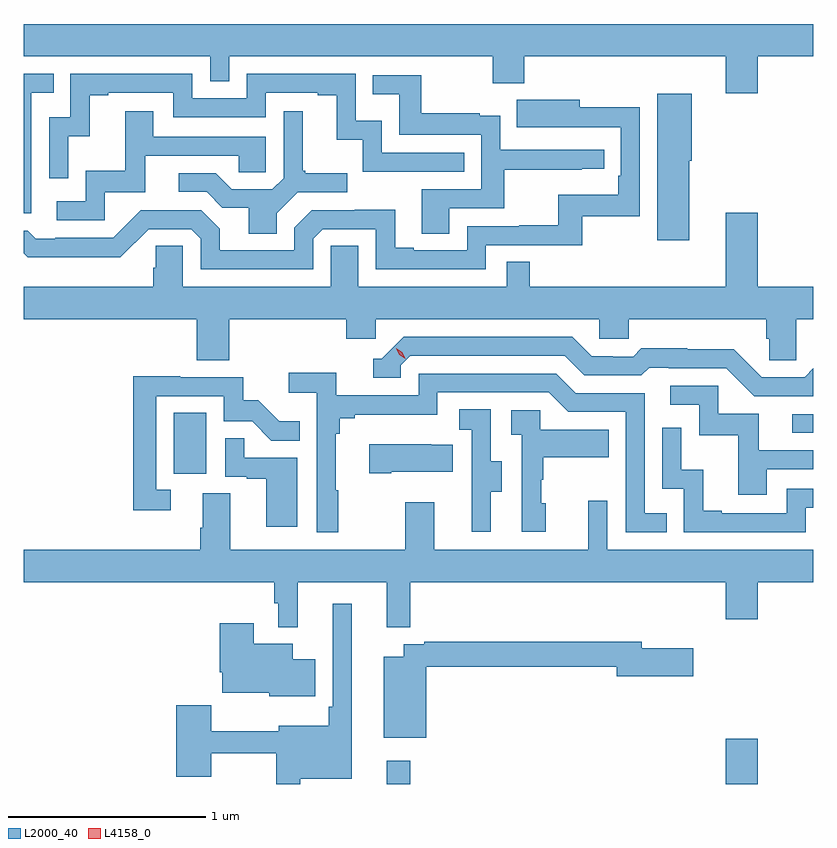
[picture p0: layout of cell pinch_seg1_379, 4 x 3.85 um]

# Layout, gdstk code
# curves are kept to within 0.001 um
import gdstk
lib = gdstk.Library(unit=1e-6, precision=1e-09)
def R(c, l, rs):  # rectangles x0, y0, x1, y1
    for r in rs: c.add(gdstk.rectangle(r[:2], r[2:], *l))
def P(c, l, *ps):  # polygons
    for p in ps: c.add(gdstk.Polygon(p, *l))
L2000_40 = (2000, 40)
L4158_0 = (4158, 0)

pinch_seg1_379 = lib.new_cell('pinch_seg1_379')
R(pinch_seg1_379, L2000_40, [(954.5,525.401,954.617,525.52), (956.216,525.401,956.38,525.631), (953.42,526.974,953.584,527.281), (956.553,527.181,956.66,527.274)])
P(pinch_seg1_379, L2000_40, [(956.38,529.088),(956.66,529.088),(956.66,529.252),(952.66,529.252),(952.66,529.088),(953.604,529.088),(953.604,528.961),(953.7,528.961),(953.7,529.088),(955.036,529.088),(955.036,528.953),(955.196,528.953),(955.196,529.088),(956.216,529.088),(956.216,528.9),(956.38,528.9)],
  [(952.884,528.683),(952.994,528.683),(952.994,528.891),(953.089,528.891),(953.089,528.903),(953.418,528.903),(953.418,528.78),(953.886,528.78),(953.886,528.903),(954.149,528.903),(954.149,528.891),(954.245,528.891),(954.245,528.665),(954.378,528.665),(954.378,528.504),(954.893,528.504),(954.893,528.6),(954.474,528.6),(954.474,528.763),(954.342,528.763),(954.342,528.999),(953.79,528.999),(953.79,528.876),(953.514,528.876),(953.514,528.999),(952.896,528.999),(952.896,528.78),(952.788,528.78),(952.788,528.471),(952.884,528.471)],
  [(952.698,528.903),(952.811,528.903),(952.811,528.999),(952.66,528.999),(952.66,528.294),(952.698,528.294)],
  [(954.817,528.318),(955.094,528.318),(955.094,528.514),(955.487,528.514),(955.487,528.519),(955.6,528.519),(955.6,528.615),(955.074,528.615),(955.074,528.787),(954.971,528.787),(954.971,528.799),(954.673,528.799),(954.673,528.993),(954.427,528.993),(954.427,528.896),(954.562,528.896),(954.562,528.69),(954.978,528.69),(954.978,528.414),(954.677,528.414),(954.677,528.19),(954.817,528.19)],
  [(956.032,528.558),(956.044,528.558),(956.044,528.898),(955.871,528.898),(955.871,528.156),(956.032,528.156)],
  [(954.126,528.165),(954.174,528.213),(954.444,528.213),(954.444,528.009),(955.002,528.009),(955.002,528.132),(955.489,528.132),(955.489,528.279),(955.782,528.279),(955.782,528.83),(955.477,528.83),(955.477,528.868),(955.159,528.868),(955.159,528.728),(955.686,528.729),(955.686,528.484),(955.673,528.484),(955.673,528.388),(955.368,528.388),(955.368,528.233),(955.171,528.233),(955.171,528.228),(954.906,528.228),(954.906,528.105),(954.637,528.105),(954.637,528.118),(954.541,528.118),(954.541,528.311),(954.336,528.311),(954.336,528.309),(954.12,528.309),(954.03,528.219),(954.03,528.105),(953.653,528.105),(953.653,528.215),(953.559,528.309),(953.253,528.309),(953.112,528.168),(952.819,528.168),(952.819,528.165),(952.72,528.165),(952.681,528.204),(952.66,528.204),(952.66,528.09),(952.681,528.069),(952.914,528.069),(952.914,528.071),(953.15,528.071),(953.292,528.213),(953.508,528.213),(953.556,528.165),(953.556,528.009),(954.126,528.009)],
  [(953.941,528.292),(954.048,528.399),(954.298,528.399),(954.298,528.496),(954.085,528.496),(954.085,528.508),(954.073,528.508),(954.073,528.811),(953.976,528.811),(953.976,528.471),(953.919,528.414),(953.713,528.414),(953.632,528.495),(953.445,528.495),(953.445,528.402),(953.586,528.402),(953.666,528.322),(953.801,528.322),(953.801,528.19),(953.941,528.19)],
  [(953.07,528.399),(953.275,528.399),(953.275,528.585),(953.749,528.585),(953.749,528.501),(953.886,528.501),(953.886,528.681),(953.317,528.681),(953.317,528.811),(953.173,528.811),(953.173,528.508),(952.974,528.508),(952.974,528.354),(952.827,528.354),(952.827,528.258),(953.07,528.258)],
  [(953.702,527.756),(954.293,527.756),(954.293,527.658),(954.444,527.658),(954.444,527.756),(955.575,527.756),(955.575,527.658),(955.725,527.658),(955.725,527.756),(956.423,527.756),(956.423,527.658),(956.437,527.658),(956.437,527.548),(956.574,527.548),(956.574,527.756),(956.66,527.756),(956.66,527.92),(956.38,527.92),(956.38,528.295),(956.216,528.295),(956.216,527.92),(955.223,527.92),(955.223,528.047),(955.107,528.047),(955.107,527.92),(954.355,527.92),(954.355,528.128),(954.216,528.128),(954.216,527.92),(953.466,527.92),(953.466,528.128),(953.329,528.128),(953.329,528.018),(953.315,528.018),(953.315,527.92),(952.66,527.92),(952.66,527.756),(953.537,527.756),(953.537,527.548),(953.702,527.548)],
  [(956.66,527.507),(956.616,527.463),(956.4,527.463),(956.258,527.605),(956.022,527.605),(956.022,527.608),(955.789,527.608),(955.747,527.565),(955.644,527.565),(955.644,527.568),(955.537,527.568),(955.438,527.667),(954.585,527.667),(954.474,527.556),(954.431,527.556),(954.431,527.46),(954.57,527.46),(954.57,527.523),(954.618,527.571),(955.401,527.571),(955.5,527.472),(955.789,527.472),(955.828,527.511),(955.927,527.511),(955.927,527.508),(956.22,527.508),(956.361,527.367),(956.66,527.367)],
  [(954.253,526.889),(954.241,526.889),(954.241,527.177),(954.26,527.177),(954.26,527.254),(954.337,527.254),(954.337,527.273),(954.756,527.273),(954.756,527.385),(955.32,527.385),(955.419,527.286),(955.71,527.286),(955.71,526.677),(955.919,526.677),(955.919,526.773),(955.806,526.773),(955.806,527.382),(955.456,527.382),(955.357,527.481),(954.66,527.481),(954.66,527.37),(954.242,527.37),(954.242,527.486),(954.003,527.486),(954.003,527.384),(954.144,527.384),(954.144,526.677),(954.253,526.677)],
  [(953.404,526.893),(953.331,526.893),(953.331,527.367),(953.673,527.367),(953.673,527.238),(953.817,527.238),(953.915,527.14),(954.059,527.14),(954.059,527.239),(953.955,527.239),(953.848,527.346),(953.772,527.346),(953.772,527.463),(953.453,527.463),(953.453,527.468),(953.215,527.468),(953.215,526.788),(953.404,526.788)],
  [(956.425,526.995),(956.66,526.995),(956.66,527.091),(956.383,527.091),(956.383,527.277),(956.178,527.277),(956.178,527.418),(955.935,527.418),(955.935,527.322),(956.082,527.322),(956.082,527.169),(956.281,527.169),(956.281,526.866),(956.425,526.866)],
  [(955.027,526.882),(955.081,526.882),(955.081,527.037),(955.026,527.037),(955.026,527.3),(954.867,527.3),(954.867,527.197),(954.93,527.197),(954.93,526.893),(954.929,526.893),(954.929,526.68),(955.027,526.68)],
  [(955.306,526.824),(955.281,526.824),(955.281,526.943),(955.291,526.943),(955.291,527.057),(955.625,527.057),(955.625,527.197),(955.278,527.197),(955.278,527.295),(955.131,527.295),(955.131,527.171),(955.182,527.171),(955.182,526.68),(955.306,526.68)],
  [(956.622,526.8),(956.66,526.8),(956.66,526.896),(956.526,526.896),(956.526,526.773),(956.197,526.773),(956.197,526.786),(956.102,526.786),(956.102,526.994),(955.992,526.994),(955.992,527.206),(955.896,527.206),(955.896,526.896),(956.004,526.896),(956.004,526.677),(956.622,526.677)],
  [(954.046,527.055),(953.777,527.055),(953.777,527.153),(953.682,527.153),(953.682,526.959),(953.789,526.959),(953.789,526.947),(953.888,526.947),(953.888,526.704),(954.046,526.704)],
  [(954.523,526.982),(954.833,526.982),(954.833,527.119),(954.725,527.119),(954.725,527.122),(954.411,527.122),(954.411,526.975),(954.523,526.975)],
  [(954.617,526.424),(956.216,526.424),(956.216,526.236),(956.38,526.236),(956.38,526.424),(956.66,526.424),(956.66,526.588),(955.617,526.588),(955.617,526.837),(955.52,526.837),(955.52,526.588),(954.739,526.588),(954.739,526.828),(954.592,526.828),(954.592,526.588),(953.707,526.588),(953.707,526.874),(953.567,526.874),(953.567,526.7),(953.555,526.7),(953.555,526.588),(952.66,526.588),(952.66,526.424),(953.929,526.424),(953.929,526.317),(953.949,526.317),(953.949,526.196),(954.047,526.196),(954.047,526.424),(954.5,526.424),(954.5,526.195),(954.617,526.195)],
  [(954.061,525.428),(954.322,525.428),(954.322,526.315),(954.225,526.315),(954.225,525.793),(954.205,525.793),(954.205,525.697),(953.951,525.697),(953.951,525.668),(953.61,525.668),(953.61,525.799),(953.432,525.799),(953.432,525.438),(953.61,525.438),(953.61,525.558),(953.94,525.558),(953.94,525.401),(954.061,525.401)],
  [(954.136,526.033),(954.022,526.033),(954.022,526.111),(953.824,526.111),(953.824,526.216),(953.654,526.216),(953.654,525.967),(953.666,525.967),(953.666,525.863),(953.904,525.863),(953.904,525.845),(954.136,525.845)],
  [(954.7,525.994),(955.664,525.994),(955.664,525.947),(956.053,525.947),(956.053,526.089),(955.792,526.089),(955.792,526.123),(954.688,526.123),(954.688,526.11),(954.584,526.11),(954.584,526.045),(954.485,526.045),(954.485,525.635),(954.7,525.635)])
P(pinch_seg1_379, L4158_0, [(954.593,527.556),(954.562,527.576),(954.546,527.608),(954.546,527.608),(954.546,527.608),(954.577,527.589),(954.593,527.557),(954.593,527.556)])

lib.write_gds('pinch_seg1_379.gds')
